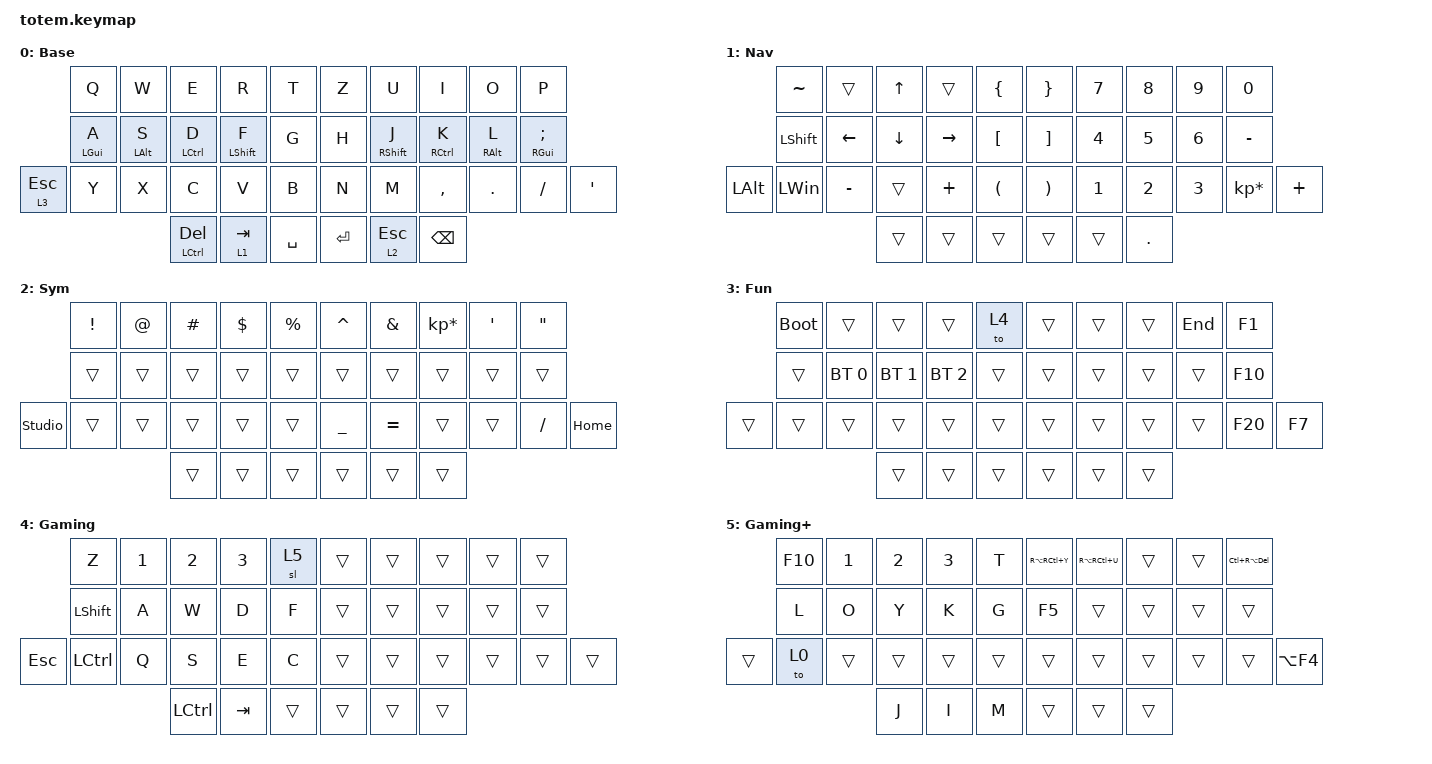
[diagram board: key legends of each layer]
//
//                                                        ▀▀▀▀▀     ▀▀▀▀▀          ▀▀█▀▀
//                                                        ▄▀▀▀▄  ▄  ▄▀▀▀▄  ▄  ▄▀▀▀▄  █  ▄▀▀▀▄
//                                                        █   █  █  █   █  █  █   █  █  █   █
//                                                         ▀▀▀   █   ▀▀▀   █   ▀▀▀   ▀   ▀▀▀
//                                                               █      ▄▄▄█▄▄▄    █   █  
//                                                               ▀      █  █  █     █▄█
//                                                             ▀▀▀▀▀    █  █  █      ▀
//                                                                      ▀  ▀  ▀
//
// ▄▄▄▄▄▄▄▄▄▄▄▄▄▄▄▄▄▄▄▄▄▄▄▄▄▄▄▄▄▄▄▄▄▄▄▄▄▄▄▄▄▄▄▄▄▄▄▄▄▄▄▄▄▄▄▄▄▄▄▄▄▄▄▄▄▄▄▄▄▄▄▄▄▄▄▄▄▄▄▄▄▄▄▄▄▄▄▄▄▄▄▄▄▄▄▄▄▄▄▄▄▄▄▄▄▄▄▄▄▄▄▄▄▄▄▄▄▄▄▄▄▄▄▄▄▄▄▄▄▄▄▄▄▄▄▄▄▄▄▄▄▄▄▄▄▄▄▄▄

#include <behaviors.dtsi>
#include <dt-bindings/zmk/bt.h>
#include <dt-bindings/zmk/keys.h>

#define Base        0
#define Nav         1
#define Sym         2
#define Fun         3
#define Game        4
#define Gameplus    5

&mt {
    quick-tap-ms = <100>;
    global-quick-tap;
    flavor = "tap-preferred";
    tapping-term-ms = <170>;
};

&lt {
    tapping-term-ms = <240>;
    flavor = "balanced";
    quick-tap-ms = <150>;
};

/ {
    behaviors {
        hm: homerow_mods {
            compatible = "zmk,behavior-hold-tap";
            label = "HOMEROW_MODS";
            #binding-cells = <2>;
            flavor = "tap-preferred";
            tapping-term-ms = <200>;
            quick-tap-ms = <125>;
            global-quick-tap;
            bindings = <&kp>, <&kp>;
        };
    };

    combos { compatible = "zmk,combos"; };

    keymap {
        compatible = "zmk,keymap";

        Base {
            display-name = "Base";
            bindings = <
              &kp Q       &kp W       &kp E          &kp R         &kp T        &kp Z    &kp U         &kp I          &kp O       &kp P
              &hm LGUI A  &hm LALT S  &hm LCTRL D    &hm LSHIFT F  &kp G        &kp H    &hm RSHFT J   &hm RCTRL K    &hm RALT L  &hm RGUI SEMICOLON
&lt 3 ESCAPE  &kp Y       &kp X       &kp C          &kp V         &kp B        &kp N    &kp M         &kp COMMA      &kp DOT     &kp SLASH           &kp APOSTROPHE
                                      &mt LCTRL DEL  &lt 1 TAB     &kp SPACE    &kp RET  &lt 2 ESCAPE  &kp BACKSPACE
            >;
        };

        Nav {
            display-name = "Nav";
            bindings = <
              &kp TILDE       &trans     &kp UP_ARROW  &trans     &kp LBRC    &kp RBRC  &kp NUMBER_7  &kp NUMBER_8  &kp NUMBER_9  &kp NUMBER_0
              &kp LEFT_SHIFT  &kp LEFT   &kp DOWN      &kp RIGHT  &kp LBKT    &kp RBKT  &kp NUMBER_4  &kp NUMBER_5  &kp NUMBER_6  &kp MINUS
&kp LEFT_ALT  &kp LEFT_WIN    &kp MINUS  &trans        &kp PLUS   &kp LPAR    &kp RPAR  &kp NUMBER_1  &kp NUMBER_2  &kp NUMBER_3  &kp KP_MULTIPLY  &kp PLUS
                                         &trans        &trans     &trans      &trans    &trans        &kp DOT
            >;
        };

        Sym {
            display-name = "Sym";
            bindings = <
                &kp EXCL  &kp AT  &kp HASH  &kp DOLLAR  &kp PERCENT    &kp CARET  &kp AMPERSAND  &kp KP_ASTERISK  &kp SQT  &kp DQT
                &trans    &trans  &trans    &trans      &trans         &trans     &trans         &trans           &trans   &trans
&studio_unlock  &trans    &trans  &trans    &trans      &trans         &kp UNDER  &kp EQUAL      &trans           &trans   &kp SLASH  &kp HOME
                                  &trans    &trans      &trans         &trans     &trans         &trans
            >;
        };

        Fun {
            display-name = "Fun";
            bindings = <
        &bootloader  &trans        &trans        &trans        &to 4     &trans  &trans  &trans  &kp END  &kp F1
        &trans       &bt BT_SEL 0  &bt BT_SEL 1  &bt BT_SEL 2  &trans    &trans  &trans  &trans  &trans   &kp F10
&trans  &trans       &trans        &trans        &trans        &trans    &trans  &trans  &trans  &trans   &kp F20  &kp F7
                                   &trans        &trans        &trans    &trans  &trans  &trans
            >;
        };

        Gaming {
            display-name = "Gaming";
            bindings = <
            &kp Z             &kp NUMBER_1  &kp NUMBER_2  &kp NUMBER_3  &sl 5     &trans  &trans  &trans  &trans  &trans
            &kp LEFT_SHIFT    &kp A         &kp W         &kp D         &kp F     &trans  &trans  &trans  &trans  &trans
&kp ESCAPE  &kp LEFT_CONTROL  &kp Q         &kp S         &kp E         &kp C     &trans  &trans  &trans  &trans  &trans  &trans
                                            &kp LCTRL     &kp TAB       &trans    &trans  &trans  &trans
            >;
        };

        Gaming+ {
            display-name = "Gaming+";
            bindings = <
        &kp F10  &kp NUMBER_1  &kp NUMBER_2  &kp NUMBER_3  &kp T     &kp RA(RC(Y))  &kp RA(RC(U))  &trans  &trans  &kp LC(RA(DEL))
        &kp L    &kp O         &kp Y         &kp K         &kp G     &kp F5         &trans         &trans  &trans  &trans
&trans  &to 0    &trans        &trans        &trans        &trans    &trans         &trans         &trans  &trans  &trans           &kp LA(F4)
                               &kp J         &kp I         &kp M     &trans         &trans         &trans
            >;
        };
    };
};
